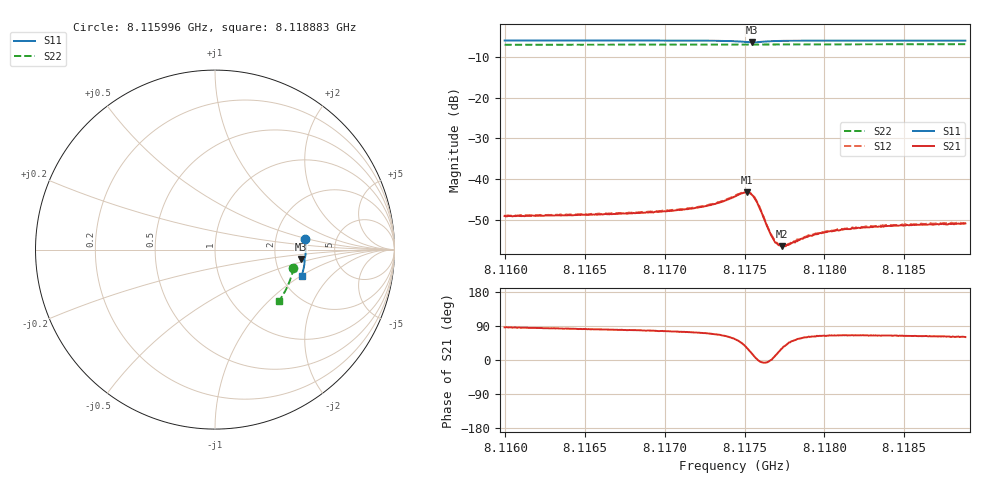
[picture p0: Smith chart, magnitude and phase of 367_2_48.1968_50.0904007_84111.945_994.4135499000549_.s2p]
#  HZ  S  RI  R  50.00
! Rohde & Schwarz Vector Network Analyzer
! Rohde-Schwarz,ZNB20-2Port,1311601062101988,3.16
! Created: UTC 3/20/2024, 11:52:33 AM
! freq[Hz]  re:S11  im:S11  re:S21  im:S21  re:S12  im:S12  re:S22  im:S22
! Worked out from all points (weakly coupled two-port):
!   401 points, 8.115996 GHz to 8.118883 GHz, reference 50 ohm
!   highest |S21| = -43.28 dB at 8.117512 GHz (marker M1); lowest = -56.5 dB at 8.117736 GHz (marker M2)
!   lowest |S11| = -6.4 dB at 8.117548 GHz (marker M3), VSWR 2.85, Z = 140 - j18.9 ohm
!   |S11| at or under -10 dB: nowhere
!   |S22| runs from -7.0 to -6.8 dB; largest |S21 - S12| = 0.00019
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8.1159959e9  0.504 0.0586  0.000237 0.00351  0.000267 0.00355  0.4372 -0.1009
8.1164795e9  0.5062 0.0221  0.000532 0.0036  0.000579 0.00367  0.4298 -0.1334
8.1169631e9  0.5055 -0.0151  0.000942 0.00383  0.000957 0.00393  0.4196 -0.1657
8.117158e9  0.5039 -0.031  0.00123 0.00416  0.0013 0.00416  0.4149 -0.1785
8.1172519e9  0.5025 -0.0391  0.00151 0.00438  0.00159 0.00443  0.4125 -0.1847
8.1173529e9  0.4995 -0.0488  0.00217 0.00476  0.00224 0.00484  0.4096 -0.1914
8.1174396e9  0.493 -0.0573  0.00349 0.005  0.00363 0.00508  0.407 -0.197
8.1174829e9  0.4866 -0.0597  0.00477 0.00466  0.00495 0.00468  0.4056 -0.1996
8.1175117e9  0.4815 -0.0582  0.00575 0.00374  0.00588 0.00375  0.4046 -0.2011
8.1175478e9  0.4781 -0.0519  0.00611 0.00172  0.00624 0.00169  0.4035 -0.2029
8.1175623e9  0.479 -0.0489  0.00574 0.000863  0.0059 0.000841  0.4031 -0.2038
8.1175839e9  0.4824 -0.0458  0.00486 -4.97e-05  0.00497 -4.11e-05  0.4028 -0.2051
8.1176489e9  0.493 -0.0482  0.00242 -0.000187  0.00245 -0.000211  0.4013 -0.2091
8.1176778e9  0.4956 -0.0515  0.00184 0.000166  0.00189 0.000148  0.4006 -0.2111
8.1177066e9  0.4973 -0.0549  0.0015 0.000493  0.00153 0.000495  0.3998 -0.2129
8.1177355e9  0.498 -0.0581  0.00128 0.00077  0.00133 0.000789  0.399 -0.215
8.1177716e9  0.4986 -0.0621  0.00112 0.00106  0.00115 0.00108  0.3979 -0.2171
8.1178438e9  0.4988 -0.069  0.000979 0.00149  0.00101 0.00152  0.3956 -0.2217
8.1179232e9  0.4986 -0.0762  0.000942 0.00177  0.000963 0.00183  0.3931 -0.2267
8.1180964e9  0.4964 -0.0904  0.000982 0.00213  0.00104 0.00218  0.3872 -0.2376
8.1184068e9  0.4917 -0.1141  0.00113 0.0024  0.00119 0.00245  0.3763 -0.2562
8.1188832e9  0.4821 -0.1487  0.0014 0.00248  0.0014 0.00251  0.3576 -0.284
